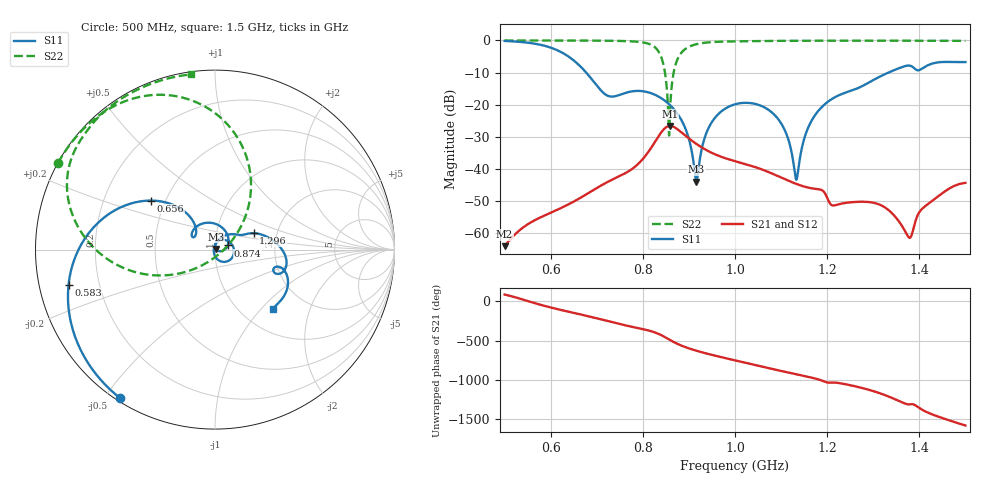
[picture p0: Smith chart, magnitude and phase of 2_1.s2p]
! TOUCHSTONE file generated by CST MICROWAVE STUDIO
! Date and time: Mon Oct 26 12:04:03 2020
! Project name: Scenario_1_Circular_Tissue_out_of_Line_v2.cst
! Parameters = {dy1=-328.7; L_HA=400; MT=2.54; Rad_Dielectric=30; Rad_Lower=7.3; Rad_Upper=30; a_HA=580; a_WG=246; b_HA=500; b_WG=121; c_HA=0; c_WG=187; d_feed=85; dx1=173; h_feed=15; h_lower=18; h_upper=40}
! Header version: 2018
! Port assignment regex: !\s*Touchstone port\s*([0-9]+)\s*=\s*(CST MWS port|CST DS port)\s*([0-9]+|Zmin|Zmax)\s*\(\"(.*)\"\)(\s*mode\s*([0-9]+))?.*
! Touchstone port assignment:
! Touchstone port 1 = CST MWS port 1 ("")
! Touchstone port 2 = CST MWS port 2 ("")
# GHz S DB R 50
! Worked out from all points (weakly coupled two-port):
!   1003 points, 500 MHz to 1.5 GHz, reference 50 ohm
!   highest |S21| = -26.57 dB at 859 MHz (marker M1); lowest = -63.9 dB at 500 MHz (marker M2)
!   lowest |S11| = -43.9 dB at 916 MHz (marker M3), VSWR 1.01, Z = 50.6 + j0.308 ohm
!   |S11| at or under -10 dB: 677.1 MHz to 1.333 GHz (655.8 MHz wide, 65.3 % of centre)
!   |S22| runs from -29.6 to 0.0 dB; largest |S21 - S12| = 1.6e-05
!   S11 on the Smith chart (normalised r, x): 500 MHz: 0.01, -0.55; 583 MHz: 0.09, -0.12; 656 MHz: 0.42, +0.29; 874 MHz: 1.15, +0.05; 1.296 GHz: 1.51, +0.29; 1.5 GHz: 1.39, -1.16
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0.5  -0.16 -122.5  -63.95 85.0  -63.95 85.0  -0.01 151.1
0.583  -1.53 -166.5  -54.66 -53.2  -54.66 -53.2  -0.02 145.4
0.656  -6.95 142.6  -49.61 -155.6  -49.61 -155.6  -0.04 139.4
0.667  -8.45 136.1  -48.72 -170.3  -48.72 -170.3  -0.04 138.4
0.723  -17.14 139.3  -44.02 109.2  -44.02 109.2  -0.09 131.9
0.78  -15.76 137.6  -39.59 32.1  -39.59 32.1  -0.32 120.2
0.834  -17.44 78.2  -29.82 -54.1  -29.83 -54.1  -3.43 81.8
0.859  -20.10 41.5  -26.57 -131.9  -26.57 -131.9  -22.09 -119.2
0.874  -22.57 18.1  -27.48 -177.9  -27.48 -177.9  -6.25 -166.2
0.897  -29.21 -15.1  -30.11 128.0  -30.11 128.0  -2.21 170.4
0.916  -43.89 28.5  -32.15 92.5  -32.15 92.5  -1.17 160.0
0.946  -26.29 70.4  -34.69 45.0  -34.69 45.0  -0.56 149.9
1  -19.85 10.1  -37.52 -29.8  -37.52 -29.8  -0.29 140.1
1.089  -23.64 -68.9  -41.90 -150.3  -41.90 -150.3  -0.14 130.8
1.133  -43.30 177.9  -44.59 153.5  -44.60 153.5  -0.11 127.0
1.167  -24.75 71.0  -45.98 109.5  -45.98 109.6  -0.10 124.2
1.213  -17.97 42.9  -51.30 48.2  -51.29 48.4  -0.09 120.6
1.296  -12.65 23.1  -50.34 -52.9  -50.34 -52.9  -0.09 114.4
1.334  -9.93 10.4  -52.82 -130.6  -52.82 -130.6  -0.08 111.5
1.379  -7.83 -15.0  -61.34 132.1  -61.34 132.1  -0.09 108.0
1.407  -8.66 -15.0  -52.22 61.0  -52.22 61.0  -0.10 105.8
1.5  -6.72 -45.5  -44.29 -136.0  -44.28 -135.9  -0.13 97.9
